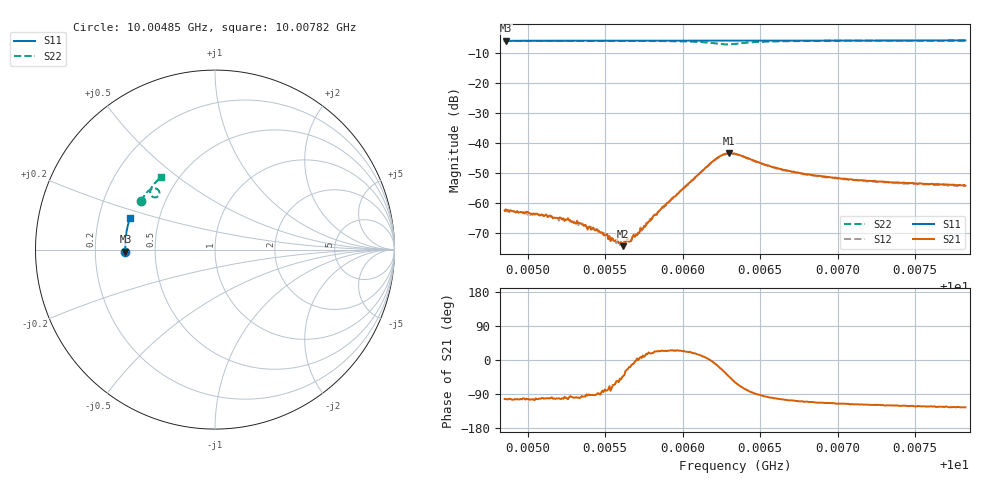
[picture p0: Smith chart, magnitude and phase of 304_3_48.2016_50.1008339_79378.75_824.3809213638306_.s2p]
#  HZ  S  RI  R  50.00
! Rohde & Schwarz Vector Network Analyzer
! Rohde-Schwarz,ZNB20-2Port,1311601062101988,3.16
! Created: UTC 3/20/2024, 11:49:43 AM
! freq[Hz]  re:S11  im:S11  re:S21  im:S21  re:S12  im:S12  re:S22  im:S22
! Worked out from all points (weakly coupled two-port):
!   401 points, 10.00485 GHz to 10.00782 GHz, reference 50 ohm
!   highest |S21| = -43.32 dB at 10.0063 GHz (marker M1); lowest = -74.2 dB at 10.00562 GHz (marker M2)
!   lowest |S11| = -6.0 dB at 10.00486 GHz (marker M3), VSWR 2.99, Z = 16.7 - j0.501 ohm
!   |S11| at or under -10 dB: nowhere
!   |S22| runs from -7.2 to -6.0 dB; largest |S21 - S12| = 0.00045
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1.0004852e10  -0.4992 -0.0118  -0.00017 -0.000742  -0.000153 -0.000745  -0.4143 0.2692
1.0004859e10  -0.4992 -0.0113  -0.000182 -0.000776  -0.000123 -0.000723  -0.414 0.2696
1.0005082e10  -0.4998 0.00336  -0.000137 -0.000618  -0.000131 -0.000625  -0.406 0.2829
1.0005261e10  -0.4999 0.0149  -0.000133 -0.00055  -7.94e-05 -0.000509  -0.399 0.2935
1.000535e10  -0.4998 0.0207  -4.04e-05 -0.00045  -4.32e-05 -0.000473  -0.3953 0.2988
1.0005491e10  -0.4997 0.0299  3.02e-05 -0.000294  4.92e-05 -0.000321  -0.389 0.3074
1.0005551e10  -0.4995 0.0338  0.000105 -0.000236  0.000116 -0.000217  -0.386 0.3109
1.000558e10  -0.4994 0.0356  0.000142 -0.000208  0.000127 -0.000204  -0.3844 0.3129
1.0005603e10  -0.4995 0.037  0.00014 -0.000174  0.00018 -0.000139  -0.3833 0.3142
1.0005617e10  -0.4993 0.0381  0.000144 -0.000131  0.000153 -0.000142  -0.3825 0.3152
1.0005677e10  -0.4992 0.0419  0.000271 -5.1e-05  0.000271 -7.11e-05  -0.3791 0.3189
1.0005707e10  -0.4991 0.0438  0.000296 2.11e-05  0.000304 1.97e-05  -0.3774 0.3208
1.0005773e10  -0.4988 0.0481  0.000451 0.000125  0.000456 0.000162  -0.3729 0.3251
1.0005848e10  -0.4984 0.0528  0.000682 0.000303  0.000665 0.000317  -0.3676 0.3298
1.000619e10  -0.4958 0.0749  0.00485 -0.00027  0.00474 -5.31e-05  -0.3157 0.3317
1.0006249e10  -0.4953 0.0785  0.0057 -0.00248  0.0057 -0.00218  -0.31 0.3117
1.0006301e10  -0.4948 0.0816  0.00486 -0.00479  0.00495 -0.00445  -0.3212 0.2946
1.0006338e10  -0.4948 0.0839  0.00343 -0.00572  0.00373 -0.00538  -0.3345 0.2908
1.0006591e10  -0.4927 0.1002  -0.000752 -0.00389  -0.000564 -0.00385  -0.3599 0.3294
1.0006836e10  -0.4897 0.1156  -0.00105 -0.00274  -0.000899 -0.00276  -0.3492 0.3523
1.0007334e10  -0.4823 0.1469  -0.00111 -0.00195  -0.00099 -0.00196  -0.3244 0.3815
1.0007825e10  -0.4733 0.1772  -0.00113 -0.00161  -0.00104 -0.00162  -0.2996 0.4044
